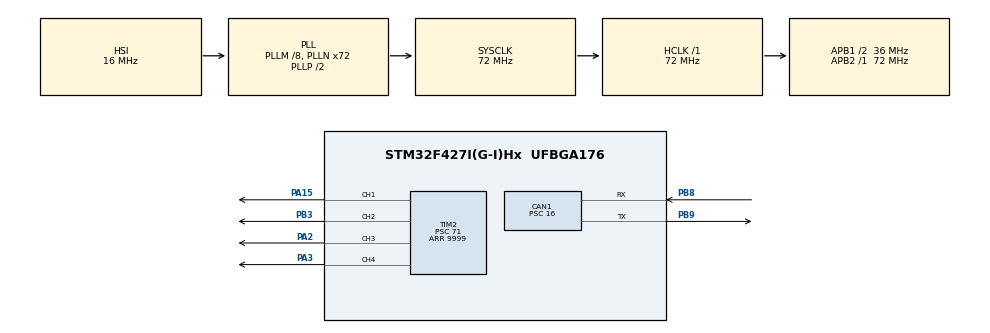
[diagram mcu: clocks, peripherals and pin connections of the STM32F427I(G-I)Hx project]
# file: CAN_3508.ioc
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CAN1.BS1=CAN_BS1_16TQ
CAN1.BS2=CAN_BS2_4TQ
CAN1.CalculateBaudRate=107142
CAN1.CalculateTimeBit=9333
CAN1.CalculateTimeQuantum=444.44444444444446
CAN1.Prescaler=16
FREERTOS.Tasks01=Task_LED_R,0,128,StartTask_LED_R,Default,NULL,Dynamic,NULL,NULL;Task_LED_G,-3,128,StartTask_LED_G,Default,NULL,Dynamic,NULL,NULL
FREERTOS.configIDLE_SHOULD_YIELD=0
FREERTOS.configUSE_NEWLIB_REENTRANT=1
Mcu.Family=STM32F4
Mcu.Name=STM32F427I(G-I)Hx
Mcu.Package=UFBGA176
NVIC.CAN1_RX0_IRQn=true\:5\:0\:false\:false\:true\:true\:true\:true\:true
NVIC.PriorityGroup=NVIC_PRIORITYGROUP_4
NVIC.TIM7_IRQn=true\:15\:0\:false\:false\:true\:false\:false\:true\:true
NVIC.TimeBase=TIM7_IRQn
NVIC.TimeBaseIP=TIM7
PA15.Signal=S_TIM2_CH1_ETR
PA2.Signal=S_TIM2_CH3
PA3.Signal=S_TIM2_CH4
PB3.Signal=S_TIM2_CH2
PB8.Mode=CAN_Activate
PB8.Signal=CAN1_RX
PB9.Mode=CAN_Activate
PB9.Signal=CAN1_TX
PC14/OSC32_IN.Mode=LSE-External-Oscillator
PC14/OSC32_IN.Signal=RCC_OSC32_IN
PC15/OSC32_OUT.Mode=LSE-External-Oscillator
PC15/OSC32_OUT.Signal=RCC_OSC32_OUT
PH0/OSC_IN.Mode=HSE-External-Oscillator
PH0/OSC_IN.Signal=RCC_OSC_IN
PH1/OSC_OUT.Mode=HSE-External-Oscillator
PH1/OSC_OUT.Signal=RCC_OSC_OUT
ProjectManager.HeapSize=0x600
ProjectManager.StackSize=0x400
ProjectManager.TargetToolchain=STM32CubeIDE
RCC.48MHZClocksFreq_Value=36000000
RCC.AHBFreq_Value=72000000
RCC.APB1CLKDivider=RCC_HCLK_DIV2
RCC.APB1Freq_Value=36000000
RCC.APB1TimFreq_Value=72000000
RCC.APB2Freq_Value=72000000
RCC.APB2TimFreq_Value=72000000
RCC.CortexFreq_Value=72000000
RCC.HCLKFreq_Value=72000000
RCC.HSE_VALUE=25000000
RCC.HSI_VALUE=16000000
RCC.PLLM=8
RCC.PLLN=72
RCC.SYSCLKFreq_VALUE=72000000
RCC.SYSCLKSource=RCC_SYSCLKSOURCE_PLLCLK
RCC.VCOOutputFreq_Value=144000000
SH.S_TIM2_CH1_ETR.0=TIM2_CH1,PWM Generation1 CH1
SH.S_TIM2_CH2.0=TIM2_CH2,PWM Generation2 CH2
SH.S_TIM2_CH3.0=TIM2_CH3,PWM Generation3 CH3
SH.S_TIM2_CH4.0=TIM2_CH4,PWM Generation4 CH4
TIM2.Channel-PWM\ Generation1\ CH1=TIM_CHANNEL_1
TIM2.Channel-PWM\ Generation2\ CH2=TIM_CHANNEL_2
TIM2.Channel-PWM\ Generation3\ CH3=TIM_CHANNEL_3
TIM2.Channel-PWM\ Generation4\ CH4=TIM_CHANNEL_4
TIM2.Period=9999
TIM2.Prescaler=71
VP_FREERTOS_VS_CMSIS_V1.Mode=CMSIS_V1
VP_SYS_VS_tim7.Mode=TIM7
board=custom

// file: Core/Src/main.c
/* USER CODE BEGIN Header */
/**
  ******************************************************************************
  * @file           : main.c
  * @brief          : Main program body
  ******************************************************************************
  * @attention
  *
  * Copyright (c) 2023 STMicroelectronics.
  * All rights reserved.
  *
  * This software is licensed under terms that can be found in the LICENSE file
  * in the root directory of this software component.
  * If no LICENSE file comes with this software, it is provided AS-IS.
  *
  ******************************************************************************
  */
/* USER CODE END Header */
#include "main.h"
#include "cmsis_os.h"
#include "can.h"
#include "tim.h"
#include "gpio.h"

void SystemClock_Config(void);
void MX_FREERTOS_Init(void);

/* USER CODE BEGIN 0 */

void Motor_Left(int pwm)
{
	if (pwm > 0) // forward
	{
		__HAL_TIM_SET_COMPARE(&htim2, TIM_CHANNEL_1, pwm);
		__HAL_TIM_SET_COMPARE(&htim2, TIM_CHANNEL_2, 0);
	}
	else if(pwm < 0) //back
	{
		__HAL_TIM_SET_COMPARE(&htim2, TIM_CHANNEL_1, 0);
		__HAL_TIM_SET_COMPARE(&htim2, TIM_CHANNEL_2, -pwm);
	}
	else // stop
	{
		__HAL_TIM_SET_COMPARE(&htim2, TIM_CHANNEL_1, 0);
		__HAL_TIM_SET_COMPARE(&htim2, TIM_CHANNEL_2, 0);
	}
}

void Motor_Right(int pwm)
{
	pwm = -pwm;
	if (pwm > 0) // forward
	{
		__HAL_TIM_SET_COMPARE(&htim2, TIM_CHANNEL_3, pwm);
		__HAL_TIM_SET_COMPARE(&htim2, TIM_CHANNEL_4, 0);
	}
	else if(pwm < 0) //back
	{
		__HAL_TIM_SET_COMPARE(&htim2, TIM_CHANNEL_3, 0);
		__HAL_TIM_SET_COMPARE(&htim2, TIM_CHANNEL_4, -pwm);
	}
	else // stop
	{
		__HAL_TIM_SET_COMPARE(&htim2, TIM_CHANNEL_3, 0);
		__HAL_TIM_SET_COMPARE(&htim2, TIM_CHANNEL_4, 0);
	}
}

void Motor_Control(int pwm1, int pwm2)
{
	// if (pwm1 == pwm2 ) go straight
	// if (pwm1 > pwm2) turn right
	// if (pwm1 < pwm2) turn left
	Motor_Left(pwm1);
	Motor_Right(pwm2);

}

void Motor_Control_CAN(uint16_t std_id, uint8_t *buff)
{
	for (int i = 0; i < 7; i += 2)
	{
		buff[i] = buff[i] >> 8;
	}
	CAN1_Send_Msg(std_id, buff);
}

/* USER CODE END 0 */

int main(void)
{

  /* MCU Configuration--------------------------------------------------------*/

  /* Reset of all peripherals, Initializes the Flash interface and the Systick. */
  HAL_Init();

  /* Configure the system clock */
  SystemClock_Config();

  /* Initialize all configured peripherals */
  MX_GPIO_Init();
  MX_CAN1_Init();
  MX_TIM2_Init();
  /* USER CODE BEGIN 2 */
	HAL_CAN_Start(&hcan1);
	CAN1_FilterConfig();
	if (HAL_CAN_ActivateNotification(&hcan1, CAN_IT_RX_FIFO0_MSG_PENDING) != HAL_OK)
	{
		Error_Handler();
	}

  /* USER CODE END 2 */

  /* Call init function for freertos objects (in freertos.c) */
  MX_FREERTOS_Init();

  /* Start scheduler */
  osKernelStart();

  /* We should never get here as control is now taken by the scheduler */
  /* Infinite loop */
  while (1)
  {

  }
}

void SystemClock_Config(void)
{
  RCC_OscInitTypeDef RCC_OscInitStruct = {0};
  RCC_ClkInitTypeDef RCC_ClkInitStruct = {0};

  /** Configure the main internal regulator output voltage
  */
  __HAL_RCC_PWR_CLK_ENABLE();
  __HAL_PWR_VOLTAGESCALING_CONFIG(PWR_REGULATOR_VOLTAGE_SCALE3);

  /** Initializes the RCC Oscillators according to the specified parameters
  * in the RCC_OscInitTypeDef structure.
  */
  RCC_OscInitStruct.OscillatorType = RCC_OSCILLATORTYPE_HSI;
  RCC_OscInitStruct.HSIState = RCC_HSI_ON;
  RCC_OscInitStruct.HSICalibrationValue = RCC_HSICALIBRATION_DEFAULT;
  RCC_OscInitStruct.PLL.PLLState = RCC_PLL_ON;
  RCC_OscInitStruct.PLL.PLLSource = RCC_PLLSOURCE_HSI;
  RCC_OscInitStruct.PLL.PLLM = 8;
  RCC_OscInitStruct.PLL.PLLN = 72;
  RCC_OscInitStruct.PLL.PLLP = RCC_PLLP_DIV2;
  RCC_OscInitStruct.PLL.PLLQ = 4;
  if (HAL_RCC_OscConfig(&RCC_OscInitStruct) != HAL_OK)
  {
    Error_Handler();
  }

  /** Initializes the CPU, AHB and APB buses clocks
  */
  RCC_ClkInitStruct.ClockType = RCC_CLOCKTYPE_HCLK|RCC_CLOCKTYPE_SYSCLK
                              |RCC_CLOCKTYPE_PCLK1|RCC_CLOCKTYPE_PCLK2;
  RCC_ClkInitStruct.SYSCLKSource = RCC_SYSCLKSOURCE_PLLCLK;
  RCC_ClkInitStruct.AHBCLKDivider = RCC_SYSCLK_DIV1;
  RCC_ClkInitStruct.APB1CLKDivider = RCC_HCLK_DIV2;
  RCC_ClkInitStruct.APB2CLKDivider = RCC_HCLK_DIV1;

  if (HAL_RCC_ClockConfig(&RCC_ClkInitStruct, FLASH_LATENCY_2) != HAL_OK)
  {
    Error_Handler();
  }
}

void HAL_TIM_PeriodElapsedCallback(TIM_HandleTypeDef *htim)
{
  if (htim->Instance == TIM7) {
    HAL_IncTick();
  }
}

void Error_Handler(void)
{
  __disable_irq();
  while (1)
  {
  }
}

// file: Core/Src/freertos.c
/* USER CODE BEGIN Header */
/**
  ******************************************************************************
  * File Name          : freertos.c
  * Description        : Code for freertos applications
  ******************************************************************************
  * @attention
  *
  * Copyright (c) 2023 STMicroelectronics.
  * All rights reserved.
  *
  * This software is licensed under terms that can be found in the LICENSE file
  * in the root directory of this software component.
  * If no LICENSE file comes with this software, it is provided AS-IS.
  *
  ******************************************************************************
  */
/* USER CODE END Header */

#include "FreeRTOS.h"
#include "task.h"
#include "main.h"
#include "cmsis_os.h"

osThreadId Task_LED_RHandle;
osThreadId Task_LED_GHandle;

void StartTask_LED_R(void const * argument);
void StartTask_LED_G(void const * argument);

void MX_FREERTOS_Init(void); /* (MISRA C 2004 rule 8.1) */

/* GetIdleTaskMemory prototype (linked to static allocation support) */
void vApplicationGetIdleTaskMemory( StaticTask_t **ppxIdleTaskTCBBuffer, StackType_t **ppxIdleTaskStackBuffer, uint32_t *pulIdleTaskStackSize );

/* USER CODE BEGIN GET_IDLE_TASK_MEMORY */
static StaticTask_t xIdleTaskTCBBuffer;
static StackType_t xIdleStack[configMINIMAL_STACK_SIZE];

void vApplicationGetIdleTaskMemory( StaticTask_t **ppxIdleTaskTCBBuffer, StackType_t **ppxIdleTaskStackBuffer, uint32_t *pulIdleTaskStackSize )
{
  *ppxIdleTaskTCBBuffer = &xIdleTaskTCBBuffer;
  *ppxIdleTaskStackBuffer = &xIdleStack[0];
  *pulIdleTaskStackSize = configMINIMAL_STACK_SIZE;
  /* place for user code */
}
/* USER CODE END GET_IDLE_TASK_MEMORY */

void MX_FREERTOS_Init(void) {

  /* Create the thread(s) */
  /* definition and creation of Task_LED_R */
  osThreadDef(Task_LED_R, StartTask_LED_R, osPriorityNormal, 0, 128);
  Task_LED_RHandle = osThreadCreate(osThread(Task_LED_R), NULL);

  /* definition and creation of Task_LED_G */
  osThreadDef(Task_LED_G, StartTask_LED_G, osPriorityIdle, 0, 128);
  Task_LED_GHandle = osThreadCreate(osThread(Task_LED_G), NULL);

}

void StartTask_LED_R(void const * argument)
{
  for(;;)
  {
    osDelay(1);
  }
}

void StartTask_LED_G(void const * argument)
{
  for(;;)
  {
    osDelay(1);
  }
}
